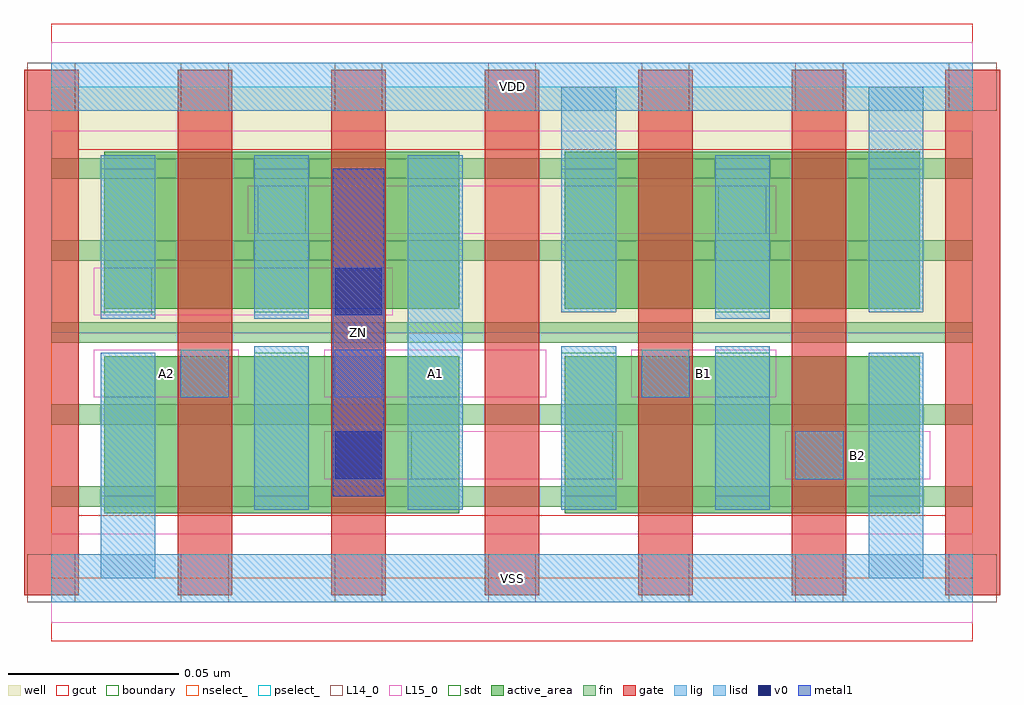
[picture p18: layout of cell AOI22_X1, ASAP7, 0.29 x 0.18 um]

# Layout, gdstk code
import gdstk
lib = gdstk.Library(unit=1e-6, precision=2.5e-10)
def R(c, l, rs):  # rectangles x0, y0, x1, y1
    for r in rs: c.add(gdstk.rectangle(r[:2], r[2:], *l))
def A(c, l, x, y, w, h, nx, ny, dx, dy):  # array of equal rectangles
    R(c, l, [(x+i*dx, y+j*dy, x+i*dx+w, y+j*dy+h) for i in range(nx) for j in range(ny)])
well = (1, 0)
fin = (2, 0)
gate = (7, 0)
gcut = (10, 0)
active_area = (11, 0)
nselect_ = (12, 0)
pselect_ = (13, 0)
L14_0 = (14, 0)
L15_0 = (15, 0)
lig = (16, 0)
lisd = (17, 0)
v0 = (18, 0)
metal1 = (19, 0)
sdt = (88, 0)
boundary = (100, 0)

aoi22_x1 = lib.new_cell('AOI22_X1')
R(aoi22_x1, well, [(0,0.072,0.27,0.144)])
A(aoi22_x1, fin, 0, 0.021, 0.27, 0.006, 1, 5, 0, 0.024)
A(aoi22_x1, gate, -0.008, -0.005, 0.016, 0.154, 7, 1, 0.045, 0)
R(aoi22_x1, gcut, [(0,-0.0185,0.27,0.0185), (-0.008,-0.005,0.008,0.149), (0.262,-0.005,0.278,0.149), (0,0.1255,0.27,0.1625)])
R(aoi22_x1, active_area, [(0.0155,0.019,0.0745,0.065), (0.0605,0.019,0.1195,0.065), (0.1505,0.019,0.2095,0.065), (0.1955,0.019,0.2545,0.065), (0.0155,0.079,0.0745,0.125), (0.0605,0.079,0.1195,0.125), (0.1505,0.079,0.2095,0.125), (0.1955,0.079,0.2545,0.125)])
R(aoi22_x1, nselect_, [(0,0,0.27,0.072)])
R(aoi22_x1, pselect_, [(0,0.072,0.27,0.144)])
A(aoi22_x1, L14_0, -0.007, -0.007, 0.014, 0.014, 7, 2, 0.045, 0.144)
R(aoi22_x1, L14_0, [(0.1055,0.029,0.1195,0.043), (0.1505,0.029,0.1645,0.043), (0.218,0.029,0.232,0.043), (0.038,0.053,0.052,0.067), (0.083,0.053,0.097,0.067), (0.173,0.053,0.187,0.067), (0.0155,0.077,0.0295,0.091), (0.0605,0.101,0.0745,0.115), (0.1955,0.101,0.2095,0.115)])
R(aoi22_x1, L15_0, [(0,-0.013,0.27,0.013), (0.08,0.029,0.1675,0.043), (0.215,0.029,0.2575,0.043), (0.0125,0.053,0.055,0.067), (0.08,0.053,0.145,0.067), (0.17,0.053,0.2125,0.067), (0.0125,0.077,0.1,0.091), (0.0575,0.101,0.2125,0.115), (0,0.131,0.27,0.157)])
R(aoi22_x1, lig, [(0,-0.007,0.27,0.007), (0.218,0.029,0.232,0.043), (0.038,0.053,0.052,0.067), (0.083,0.053,0.097,0.067), (0.173,0.053,0.187,0.067), (0,0.137,0.27,0.151)])
R(aoi22_x1, lisd, [(0.0145,0,0.0305,0.066), (0.2395,0,0.2555,0.066), (0.0595,0.02,0.0755,0.068), (0.0595,0.02,0.0755,0.068), (0.1045,0.02,0.1205,0.124), (0.1495,0.02,0.1655,0.068), (0.1945,0.02,0.2105,0.068), (0.1945,0.02,0.2105,0.068), (0.0145,0.076,0.0305,0.124), (0.0595,0.076,0.0755,0.124), (0.0595,0.076,0.0755,0.124), (0.1945,0.076,0.2105,0.124), (0.1945,0.076,0.2105,0.124), (0.1495,0.078,0.1655,0.144), (0.2395,0.078,0.2555,0.144)])
R(aoi22_x1, v0, [(0.083,0.029,0.097,0.043), (0.083,0.077,0.097,0.091)])
R(aoi22_x1, metal1, [(0.0825,0.024,0.0975,0.12)])
R(aoi22_x1, sdt, [(0.1045,0.02,0.1205,0.124), (0.0145,0.024,0.0305,0.066), (0.0595,0.024,0.0755,0.066), (0.0595,0.024,0.0755,0.066), (0.1495,0.024,0.1655,0.066), (0.1945,0.024,0.2105,0.066), (0.1945,0.024,0.2105,0.066), (0.2395,0.024,0.2555,0.066), (0.0145,0.078,0.0305,0.12), (0.0595,0.078,0.0755,0.12), (0.0595,0.078,0.0755,0.12), (0.1495,0.078,0.1655,0.12), (0.1945,0.078,0.2105,0.12), (0.1945,0.078,0.2105,0.12), (0.2395,0.078,0.2555,0.12)])
R(aoi22_x1, boundary, [(0,0,0.27,0.144)])
aoi22_x1.add(gdstk.Label('VDD', (0.135,0.144), layer=1, texttype=251))
aoi22_x1.add(gdstk.Label('VSS', (0.135,0), layer=3, texttype=251))
aoi22_x1.add(gdstk.Label('A2', (0.0338,0.06), layer=15, texttype=251))
aoi22_x1.add(gdstk.Label('A1', (0.1125,0.06), layer=15, texttype=251))
aoi22_x1.add(gdstk.Label('B1', (0.1913,0.06), layer=15, texttype=251))
aoi22_x1.add(gdstk.Label('B2', (0.2363,0.036), layer=15, texttype=251))
aoi22_x1.add(gdstk.Label('VSS', (0.135,0), layer=15, texttype=251))
aoi22_x1.add(gdstk.Label('VDD', (0.135,0.144), layer=15, texttype=251))
aoi22_x1.add(gdstk.Label('ZN', (0.09,0.072), layer=19, texttype=251))

lib.write_gds('AOI22_X1.gds')
